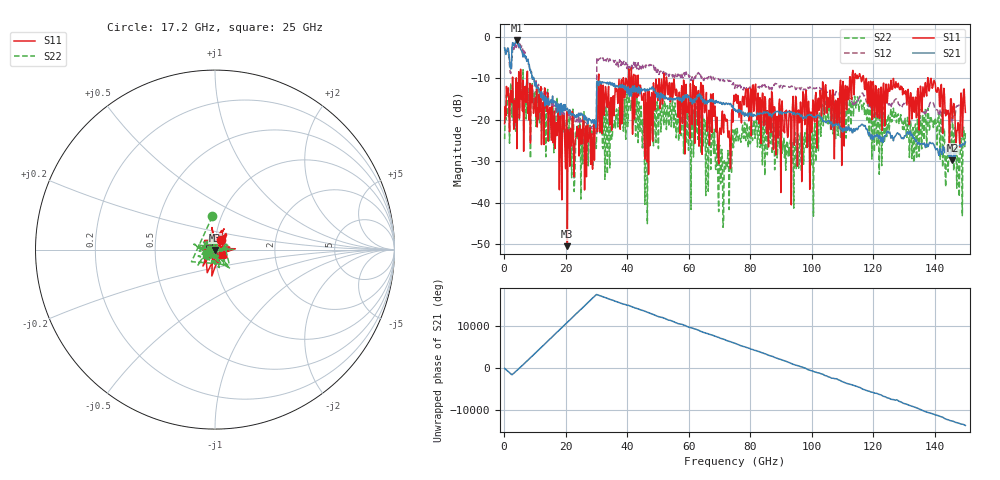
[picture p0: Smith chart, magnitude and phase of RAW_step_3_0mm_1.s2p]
!  2-Port S-parameters saved by WinCal
! VAR MeasName=S-Parameters (CALIBRATED_DATA) read from VNA (MS4647B)
! VAR MeasDate=27-Apr-22 16:53:09
! VAR NAME=RAW_stepline_3mm_1
! VAR FILENAME=RAW_stepline_3mm_1.S2P
! VAR DATE=27-Apr-22 16:53:09
! VAR PHYS_PORTS=1,2
! VAR ObjTypeName=DATASET
! VAR IndexType=Frequency
! VAR ChuckHeaterState=Unknown
! VAR ChuckTemp=NaN
! VAR ChuckTempUnits=Unknown
# Hz S RI R 50
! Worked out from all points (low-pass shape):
!   750 points, 200 MHz to 150 GHz, reference 50 ohm
!   highest |S21| = -0.89 dB at 4.2 GHz (marker M1); lowest = -29.8 dB at 145.8 GHz (marker M2)
!   |S21| within 3 dB of the highest: 719.8 MHz to 1.59 GHz (869.8 MHz wide, 75.3 % of centre); 2.542 GHz to 5.945 GHz (3.403 GHz wide, 80.2 % of centre)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
!   lowest |S11| = -50.5 dB at 20.6 GHz (marker M3), VSWR 1.01, Z = 50.2 - j0.245 ohm
!   |S11| at or under -10 dB: 7.633 GHz to 30.7 GHz (23.07 GHz wide, 120 % of centre); 52.86 GHz to 112.4 GHz (59.52 GHz wide, 72 % of centre); 116.9 GHz to 137.8 GHz (20.86 GHz wide, 16.4 % of centre)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
!   |S22| runs from -46.0 to -8.0 dB; largest |S21 - S12| = 1.7
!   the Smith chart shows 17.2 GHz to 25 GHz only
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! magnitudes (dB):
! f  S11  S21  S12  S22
! 200 MHz  -21.0  -2.7  -2.6  -24.7
! 4.2 GHz  -27.0  -0.9  -1.4  -24.4
! 13.8 GHz  -15.5  -15.2  -14.6  -18.0
! 20.6 GHz  -50.5  -17.2  -18.0  -20.5
! 25.2 GHz  -22.3  -18.8  -20.5  -25.1
! 29.4 GHz  -29.8  -20.0  -21.6  -27.2
! 30.8 GHz  -9.0  -11.7  -5.4  -16.6
! 34.8 GHz  -14.7  -11.7  -5.6  -20.9
! 41.2 GHz  -10.8  -12.5  -8.4  -17.9
! 46 GHz  -12.7  -13.2  -7.4  -18.9
! 50.2 GHz  -13.6  -13.6  -8.5  -27.0
! 64.8 GHz  -12.2  -15.6  -10.5  -26.5
! 71 GHz  -17.9  -16.3  -10.8  -29.5
! 73.4 GHz  -25.0  -16.4  -10.6  -30.1
! 75.2 GHz  -15.0  -17.6  -11.8  -22.2
! 92.8 GHz  -17.8  -18.2  -12.2  -28.7
! 100.2 GHz  -21.7  -19.1  -12.3  -22.9
! 104.6 GHz  -11.6  -20.6  -13.2  -20.7
! 125.2 GHz  -13.1  -23.0  -16.3  -22.7
! 145.8 GHz  -19.7  -29.8  -20.8  -20.6
! 148.4 GHz  -17.1  -26.0  -16.4  -26.3
! 150 GHz  -18.2  -25.4  -16.2  -23.0
